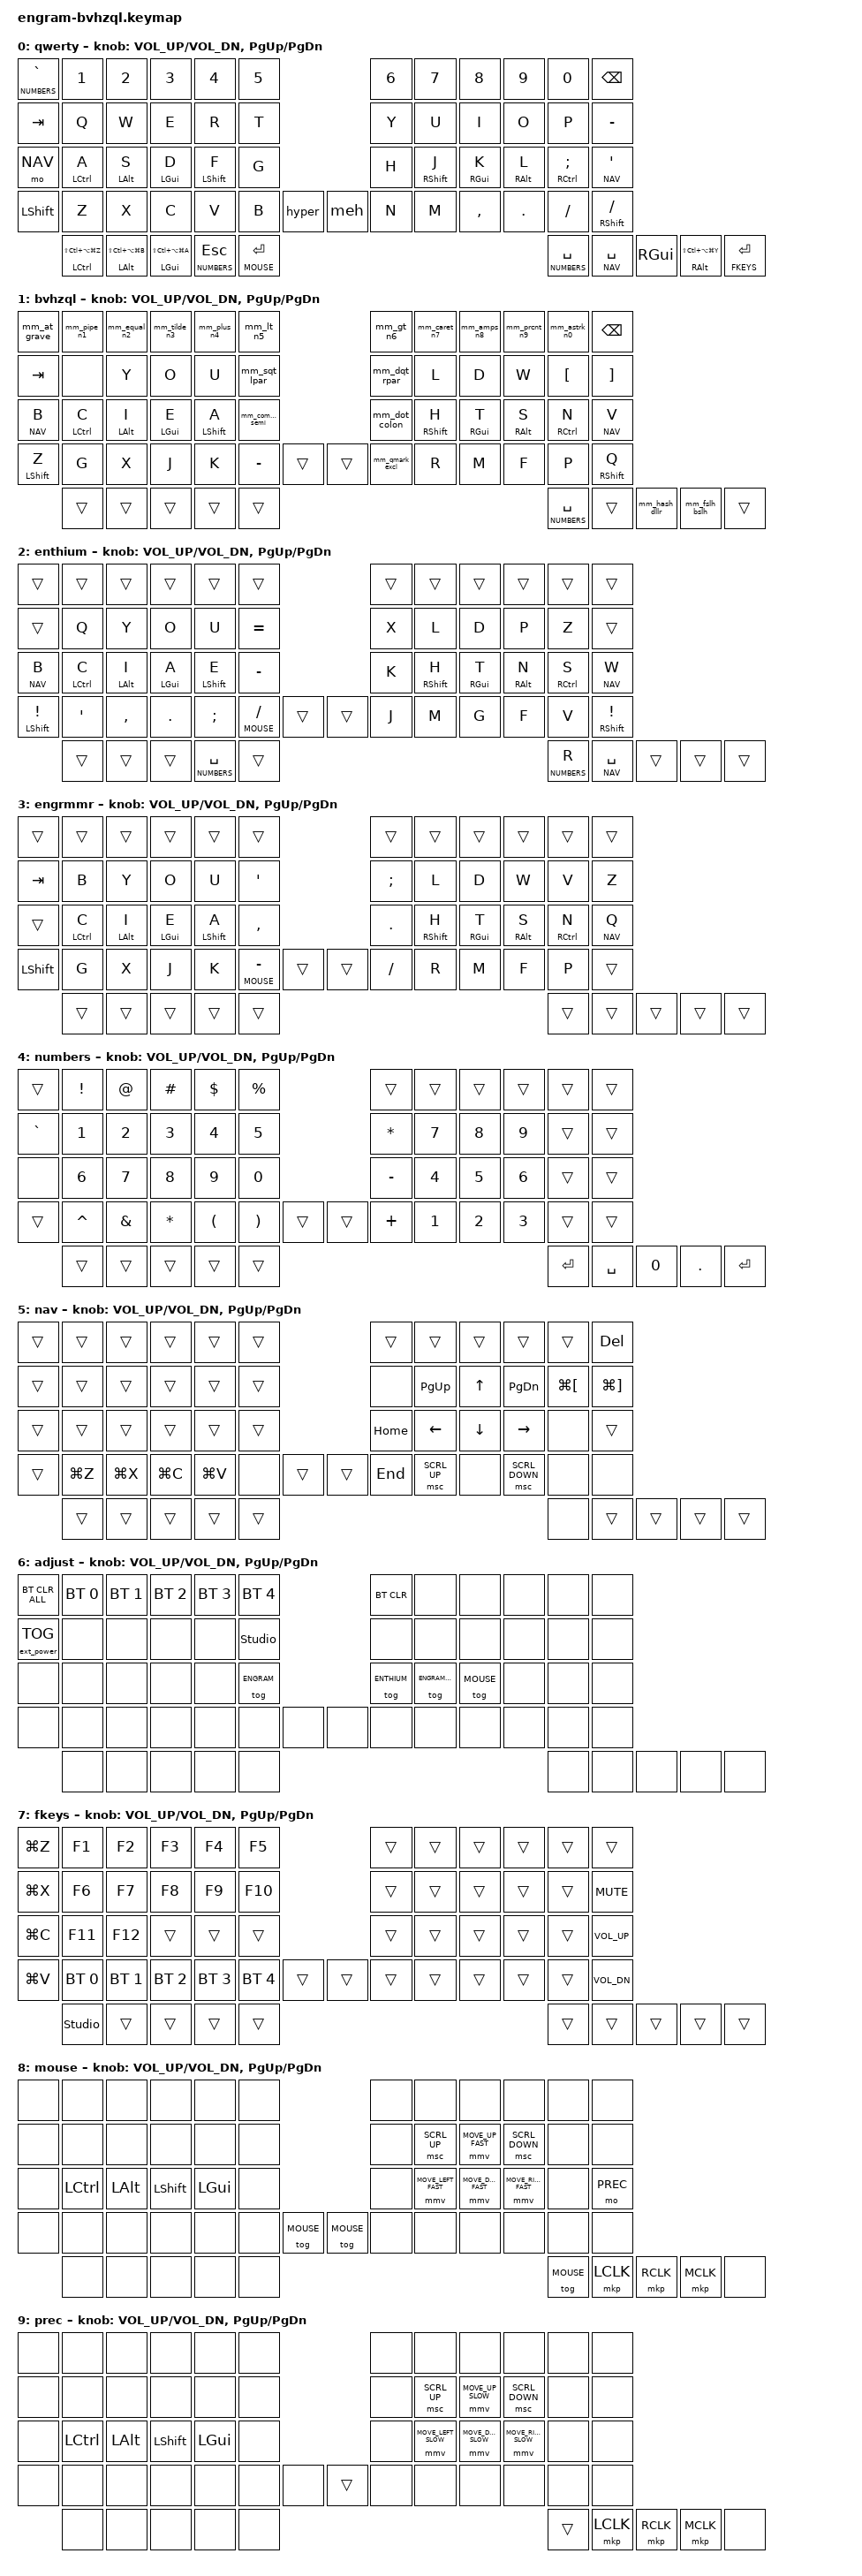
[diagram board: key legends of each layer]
/*
 * Profile: engram-bvhzql
 * Description: Quad-layout with Engram BVh ZQl on layer 1 (retired — replaced by Enth+)
 * Created: 2026-03-31
 * Based on: upstream quad-layout with Engrammer
 */

/*
 * Quad-Layout — SOFLE 60-key
 *
 * Four alpha layouts with shared functional layers.
 *
 * Layers:
 *   0 = QWERTY base with CAGS HRM
 *   1 = Engram BVh ZQl toggle overlay (custom shifted pairs via mod-morphs)
 *   2 = Enthium v14 toggle overlay (original orientation)
 *   3 = Engrammer toggle overlay (standard shifted pairs, no mod-morphs)
 *   4 = Numbers (number grid + numpad, merged)
 *   5 = Nav (arrows, undo/cut/copy/paste)
 *   6 = Adjust (conditional: NAV + NUMBERS — BT, power, toggles)
 *   7 = Fkeys (F1-F12, media, undo/cut/copy/paste, BT, Studio unlock)
 *   8 = Mouse (mouse movement on right OHAE cluster)
 *   9 = Prec (precision mouse — 1/3 speed)
 *
 * Cycle: QWERTY → Engram → Enthium → Engrammer → QWERTY (combo: pos 46+47+48+49)
 */

#include <behaviors.dtsi>
#include <dt-bindings/zmk/bt.h>
#include <dt-bindings/zmk/ext_power.h>
#include <dt-bindings/zmk/keys.h>
#define ZMK_POINTING_DEFAULT_SCRL_VAL 25
#include <dt-bindings/zmk/pointing.h>

#define QWERTY    0
#define ENGRAM    1
#define ENTHIUM   2
#define ENGRAMMER 3
#define NUMBERS   4
#define NAV       5
#define ADJUST    6
#define FKEYS     7
#define MOUSE     8
#define PREC      9

// Mouse movement (195% of ZMK default 600 = 1170)
#ifndef KEYMAP_DRAWER
#define MOVE_UP_FAST    ((-1170) & 0xFFFF)
#define MOVE_DOWN_FAST  ((1170) & 0xFFFF)
#define MOVE_LEFT_FAST  (((-1170) & 0xFFFF) << 16)
#define MOVE_RIGHT_FAST (((1170) & 0xFFFF) << 16)

// Precision mouse movement (1/3 of fast speed)
#define MOVE_UP_SLOW    ((-390) & 0xFFFF)
#define MOVE_DOWN_SLOW  ((390) & 0xFFFF)
#define MOVE_LEFT_SLOW  (((-390) & 0xFFFF) << 16)
#define MOVE_RIGHT_SLOW (((390) & 0xFFFF) << 16)
#endif

/ {
    // Activate ADJUST layer by pressing NAV and NUMBERS together
    conditional_layers {
        compatible = "zmk,conditional-layers";

        adjust_layer {
            if-layers = <NAV NUMBERS>;
            then-layer = <ADJUST>;
        };
    };

    combos {
        compatible = "zmk,combos";

        // ── Escape combos ─────────────────────────────────────────
        esc {
            bindings = <&kp ESCAPE>;
            key-positions = <25 41>;
        };

        esc2 {
            bindings = <&kp ESCAPE>;
            key-positions = <0 12>;
        };

        esc3 {
            bindings = <&kp ESCAPE>;
            key-positions = <0 1>;
        };

        // ── Thumb fat-finger protection ───────────────────────────
        thumb_fatfinger {
            bindings = <&kp SPACE>;
            key-positions = <54 55>;
        };

        thumb_fatfinger_left {
            bindings = <&kp SPACE>;
            key-positions = <52 53>;
        };

        thumb_fatfinger_right {
            bindings = <&kp SPACE>;
            key-positions = <56 57>;
        };

        // ── Layout cycle: QWERTY → Engram → Enthium → QWERTY ─────
        layout_to_engram {
            bindings = <&tog ENGRAM>;
            key-positions = <46 47 48 49>;
            layers = <QWERTY>;
        };

        layout_to_enthium {
            bindings = <&engram_to_enthium>;
            key-positions = <46 47 48 49>;
            layers = <ENGRAM>;
        };

        layout_to_engrammer {
            bindings = <&enthium_to_engrammer>;
            key-positions = <46 47 48 49>;
            layers = <ENTHIUM>;
        };

        layout_to_qwerty {
            bindings = <&tog ENGRAMMER>;
            key-positions = <46 47 48 49>;
            layers = <ENGRAMMER>;
        };

        // ── Numbers toggle: G+H positions ─────────────────────────
        numbers_toggle {
            bindings = <&tog NUMBERS>;
            key-positions = <29 30>;
        };

        // ── Fat-finger protection: QWERTY ────────────────────────
        fatfinger_del_q {
            bindings = <&kp B>;
            key-positions = <41 42>;
            layers = <QWERTY>;
        };

        fatfinger_bksp_q {
            bindings = <&kp N>;
            key-positions = <44 43>;
            layers = <QWERTY>;
        };

        // ── Fat-finger protection: Engram ────────────────────────
        fatfinger_del_eng {
            bindings = <&kp K>;
            key-positions = <41 42>;
            layers = <ENGRAM>;
        };

        fatfinger_bksp_eng {
            bindings = <&kp R>;
            key-positions = <44 43>;
            layers = <ENGRAM>;
        };

        // ── Fat-finger protection: Enthium ───────────────────────
        // ── Fat-finger protection: Engrammer ─────────────────────
        fatfinger_del_engr {
            bindings = <&kp FSLH>;
            key-positions = <41 42>;
            layers = <ENGRAMMER>;
        };

        fatfinger_bksp_engr {
            bindings = <&kp R>;
            key-positions = <44 43>;
            layers = <ENGRAMMER>;
        };

        fatfinger_del_e {
            bindings = <&kp FSLH>;
            key-positions = <41 42>;
            layers = <ENTHIUM>;
        };

        fatfinger_bksp_e {
            bindings = <&kp J>;
            key-positions = <44 43>;
            layers = <ENTHIUM>;
        };
    };

    macros {
        hyper: hyper {
            compatible = "zmk,behavior-macro";
            #binding-cells = <0>;
            bindings
                = <&macro_press &kp LSHFT &kp LCTRL &kp LALT &kp LGUI>
                , <&macro_pause_for_release>
                , <&macro_release &kp LSHFT &kp LCTRL &kp LALT &kp LGUI>
                ;
        };

        hyper_space: hyper_space {
            compatible = "zmk,behavior-macro";
            #binding-cells = <0>;
            bindings
                = <&macro_press &kp LSHFT &kp LCTRL &kp LALT &kp LGUI>
                , <&macro_tap &kp SPACE>
                , <&macro_release &kp LSHFT &kp LCTRL &kp LALT &kp LGUI>
                ;
        };

        hyper_f: hyper_f {
            compatible = "zmk,behavior-macro";
            #binding-cells = <0>;
            bindings
                = <&macro_press &kp LSHFT &kp LCTRL &kp LALT &kp LGUI>
                , <&macro_tap &kp F>
                , <&macro_release &kp LSHFT &kp LCTRL &kp LALT &kp LGUI>
                ;
        };

        meh_f: meh_f {
            compatible = "zmk,behavior-macro";
            #binding-cells = <0>;
            bindings
                = <&macro_press &kp RSHFT &kp RCTRL &kp RALT>
                , <&macro_tap &kp F>
                , <&macro_release &kp RSHFT &kp RCTRL &kp RALT>
                ;
        };

        meh: meh {
            compatible = "zmk,behavior-macro";
            #binding-cells = <0>;
            bindings
                = <&macro_press &kp LSHFT &kp LCTRL &kp LALT>
                , <&macro_pause_for_release>
                , <&macro_release &kp LSHFT &kp LCTRL &kp LALT>
                ;
        };

        engram_to_enthium: engram_to_enthium {
            compatible = "zmk,behavior-macro";
            #binding-cells = <0>;
            wait-ms = <0>;
            tap-ms = <0>;
            bindings = <&tog ENGRAM &tog ENTHIUM>;
        };

        enthium_to_engrammer: enthium_to_engrammer {
            compatible = "zmk,behavior-macro";
            #binding-cells = <0>;
            wait-ms = <0>;
            tap-ms = <0>;
            bindings = <&tog ENTHIUM &tog ENGRAMMER>;
        };
    };

    behaviors {

        hml: home_row_mod_left {
            compatible = "zmk,behavior-hold-tap";
            #binding-cells = <2>;
            flavor = "balanced";
            tapping-term-ms = <280>;
            quick-tap-ms = <175>;
            require-prior-idle-ms = <150>;
            bindings = <&kp>, <&kp>;
            hold-trigger-key-positions = <6 7 8 9 10 11 18 19 20 21 22 23 30 31 32 33 34 35 43 44 45 46 47 48 49 50 51 52 53 54 55 56 57 58 59>;
            hold-trigger-on-release;
        };

        hmr: home_row_mod_right {
            compatible = "zmk,behavior-hold-tap";
            #binding-cells = <2>;
            flavor = "balanced";
            tapping-term-ms = <280>;
            quick-tap-ms = <175>;
            require-prior-idle-ms = <150>;
            bindings = <&kp>, <&kp>;
            hold-trigger-key-positions = <0 1 2 3 4 5 12 13 14 15 16 17 24 25 26 27 28 29 36 37 38 39 40 41 42 50 51 52 53 54 55 56 57 58 59>;
            hold-trigger-on-release;
        };

        hml_g: home_row_mod_left_gui {
            compatible = "zmk,behavior-hold-tap";
            #binding-cells = <2>;
            flavor = "balanced";
            tapping-term-ms = <280>;
            quick-tap-ms = <175>;
            require-prior-idle-ms = <350>;
            bindings = <&kp>, <&kp>;
            hold-trigger-key-positions = <6 7 8 9 10 11 18 19 20 21 22 23 30 31 32 33 34 35 43 44 45 46 47 48 49 50 51 52 53 54 55 56 57 58 59>;
            hold-trigger-on-release;
        };

        hmr_g: home_row_mod_right_gui {
            compatible = "zmk,behavior-hold-tap";
            #binding-cells = <2>;
            flavor = "balanced";
            tapping-term-ms = <280>;
            quick-tap-ms = <175>;
            require-prior-idle-ms = <350>;
            bindings = <&kp>, <&kp>;
            hold-trigger-key-positions = <0 1 2 3 4 5 12 13 14 15 16 17 24 25 26 27 28 29 36 37 38 39 40 41 42 50 51 52 53 54 55 56 57 58 59>;
            hold-trigger-on-release;
        };

        lts: layer_tap_smart {
            compatible = "zmk,behavior-hold-tap";
            #binding-cells = <2>;
            flavor = "balanced";
            tapping-term-ms = <280>;
            quick-tap-ms = <175>;
            require-prior-idle-ms = <150>;
            bindings = <&mo>, <&kp>;
        };


        htk: hold_tap_kp {
            compatible = "zmk,behavior-hold-tap";
            #binding-cells = <2>;
            flavor = "balanced";
            tapping-term-ms = <200>;
            quick-tap-ms = <175>;
            bindings = <&kp>, <&kp>;
        };

        // ── Engram mod-morphs: custom shifted pairs ──────────────
        // base tap = symbol, shift = different character

        mm_comma_semi: mm_comma_semi {
            compatible = "zmk,behavior-mod-morph";
            #binding-cells = <0>;
            bindings = <&kp COMMA>, <&kp SEMI>;
            mods = <(MOD_LSFT|MOD_RSFT)>;
        };

        mm_dot_colon: mm_dot_colon {
            compatible = "zmk,behavior-mod-morph";
            #binding-cells = <0>;
            bindings = <&kp DOT>, <&kp COLON>;
            mods = <(MOD_LSFT|MOD_RSFT)>;
        };

        mm_sqt_lpar: mm_sqt_lpar {
            compatible = "zmk,behavior-mod-morph";
            #binding-cells = <0>;
            bindings = <&kp SQT>, <&kp LPAR>;
            mods = <(MOD_LSFT|MOD_RSFT)>;
        };

        mm_dqt_rpar: mm_dqt_rpar {
            compatible = "zmk,behavior-mod-morph";
            #binding-cells = <0>;
            bindings = <&kp DQT>, <&kp RPAR>;
            mods = <(MOD_LSFT|MOD_RSFT)>;
        };

        mm_qmark_excl: mm_qmark_excl {
            compatible = "zmk,behavior-mod-morph";
            #binding-cells = <0>;
            bindings = <&kp QMARK>, <&kp EXCL>;
            mods = <(MOD_LSFT|MOD_RSFT)>;
        };

        mm_at_grave: mm_at_grave {
            compatible = "zmk,behavior-mod-morph";
            #binding-cells = <0>;
            bindings = <&kp AT>, <&kp GRAVE>;
            mods = <(MOD_LSFT|MOD_RSFT)>;
        };

        mm_hash_dllr: mm_hash_dllr {
            compatible = "zmk,behavior-mod-morph";
            #binding-cells = <0>;
            bindings = <&kp HASH>, <&kp DLLR>;
            mods = <(MOD_LSFT|MOD_RSFT)>;
        };

        mm_fslh_bslh: mm_fslh_bslh {
            compatible = "zmk,behavior-mod-morph";
            #binding-cells = <0>;
            bindings = <&kp FSLH>, <&kp BSLH>;
            mods = <(MOD_LSFT|MOD_RSFT)>;
        };

        // ── Engram number row mod-morphs: symbol base, number on shift ──
        mm_pipe_n1: mm_pipe_n1 {
            compatible = "zmk,behavior-mod-morph";
            #binding-cells = <0>;
            bindings = <&kp PIPE>, <&kp N1>;
            mods = <(MOD_LSFT|MOD_RSFT)>;
        };

        mm_equal_n2: mm_equal_n2 {
            compatible = "zmk,behavior-mod-morph";
            #binding-cells = <0>;
            bindings = <&kp EQUAL>, <&kp N2>;
            mods = <(MOD_LSFT|MOD_RSFT)>;
        };

        mm_tilde_n3: mm_tilde_n3 {
            compatible = "zmk,behavior-mod-morph";
            #binding-cells = <0>;
            bindings = <&kp TILDE>, <&kp N3>;
            mods = <(MOD_LSFT|MOD_RSFT)>;
        };

        mm_plus_n4: mm_plus_n4 {
            compatible = "zmk,behavior-mod-morph";
            #binding-cells = <0>;
            bindings = <&kp PLUS>, <&kp N4>;
            mods = <(MOD_LSFT|MOD_RSFT)>;
        };

        mm_lt_n5: mm_lt_n5 {
            compatible = "zmk,behavior-mod-morph";
            #binding-cells = <0>;
            bindings = <&kp LT>, <&kp N5>;
            mods = <(MOD_LSFT|MOD_RSFT)>;
        };

        mm_gt_n6: mm_gt_n6 {
            compatible = "zmk,behavior-mod-morph";
            #binding-cells = <0>;
            bindings = <&kp GT>, <&kp N6>;
            mods = <(MOD_LSFT|MOD_RSFT)>;
        };

        mm_caret_n7: mm_caret_n7 {
            compatible = "zmk,behavior-mod-morph";
            #binding-cells = <0>;
            bindings = <&kp CARET>, <&kp N7>;
            mods = <(MOD_LSFT|MOD_RSFT)>;
        };

        mm_amps_n8: mm_amps_n8 {
            compatible = "zmk,behavior-mod-morph";
            #binding-cells = <0>;
            bindings = <&kp AMPS>, <&kp N8>;
            mods = <(MOD_LSFT|MOD_RSFT)>;
        };

        mm_prcnt_n9: mm_prcnt_n9 {
            compatible = "zmk,behavior-mod-morph";
            #binding-cells = <0>;
            bindings = <&kp PRCNT>, <&kp N9>;
            mods = <(MOD_LSFT|MOD_RSFT)>;
        };

        mm_astrk_n0: mm_astrk_n0 {
            compatible = "zmk,behavior-mod-morph";
            #binding-cells = <0>;
            bindings = <&kp ASTRK>, <&kp N0>;
            mods = <(MOD_LSFT|MOD_RSFT)>;
        };

        td_enc_l: tap_dance_enc_left {
            compatible = "zmk,behavior-tap-dance";
            #binding-cells = <0>;
            tapping-term-ms = <200>;
            bindings = <&none>, <&hyper_f>;
        };

        td_enc_r: tap_dance_enc_right {
            compatible = "zmk,behavior-tap-dance";
            #binding-cells = <0>;
            tapping-term-ms = <200>;
            bindings = <&none>, <&meh_f>;
        };

    };

    keymap {
        compatible = "zmk,keymap";

        // ── Layer 0 — QWERTY ──────────────────────────────────────

        qwerty_layer {
            display-name = "qwerty";

            bindings = <
&lts NUMBERS GRAVE  &kp N1      &kp N2          &kp N3          &kp N4          &kp N5                                          &kp N6              &kp N7          &kp N8          &kp N9          &kp N0              &kp BSPC
&kp TAB        &kp Q           &kp W           &kp E           &kp R           &kp T                                           &kp Y               &kp U           &kp I           &kp O           &kp P               &kp MINUS
&mo NAV        &hml LCTRL A    &hml LALT S     &hml_g LGUI D   &hml LSHFT F    &kp G                                           &kp H               &hmr RSHFT J    &hmr_g RGUI K   &hmr RALT L     &hmr RCTRL SEMI     &lts NAV SQT
&kp LSHFT      &kp Z           &kp X           &kp C           &kp V           &kp B           &hyper          &meh            &kp N               &kp M           &kp COMMA       &kp DOT         &kp FSLH            &mt RSHFT FSLH
               &htk LCTRL LS(LC(LA(LG(Z))))  &htk LALT LS(LC(LA(LG(B))))  &htk LGUI LS(LC(LA(LG(A))))  &lts NUMBERS ESC    &lts MOUSE ENTER                         &lts NUMBERS SPACE  &lts NAV SPACE      &kp RGUI                      &htk RALT LS(LC(LA(LG(Y))))     &lts FKEYS ENTER
            >;

            sensor-bindings = <&inc_dec_kp C_VOL_UP C_VOL_DN &inc_dec_kp PG_UP PG_DN>;
        };

        // ── Layer 1 — Engram BVh ZQl ─────────────────────────────

        engram_layer {
            display-name = "bvhzql";

            bindings = <
&mm_at_grave     &mm_pipe_n1 &mm_equal_n2    &mm_tilde_n3    &mm_plus_n4     &mm_lt_n5                                       &mm_gt_n6           &mm_caret_n7    &mm_amps_n8     &mm_prcnt_n9    &mm_astrk_n0        &kp BSPC
&kp TAB        &none           &kp Y           &kp O           &kp U           &mm_sqt_lpar                                    &mm_dqt_rpar        &kp L           &kp D           &kp W           &kp LBKT            &kp RBKT
&lts NAV B     &hml LCTRL C    &hml LALT I     &hml_g LGUI E   &hml LSHFT A    &mm_comma_semi                                  &mm_dot_colon       &hmr RSHFT H    &hmr_g RGUI T   &hmr RALT S     &hmr RCTRL N        &lts NAV V
&mt LSHFT Z    &kp G           &kp X           &kp J           &kp K           &kp MINUS       &trans          &trans          &mm_qmark_excl      &kp R           &kp M           &kp F           &kp P               &mt RSHFT Q
               &trans          &trans          &trans          &trans          &trans                                          &lts NUMBERS SPACE  &trans          &mm_hash_dllr   &mm_fslh_bslh   &trans
            >;

            sensor-bindings = <&inc_dec_kp C_VOL_UP C_VOL_DN &inc_dec_kp PG_UP PG_DN>;
        };

        // ── Layer 2 — Enthium v14 (original orientation) ─────────

        enthium_layer {
            display-name = "enthium";

            bindings = <
&trans         &trans          &trans          &trans          &trans          &trans                                          &trans              &trans          &trans          &trans          &trans              &trans
&trans         &kp Q           &kp Y           &kp O           &kp U           &kp EQUAL                                       &kp X               &kp L           &kp D           &kp P           &kp Z               &trans
&lts NAV B     &hml LCTRL C    &hml LALT I     &hml_g LGUI A   &hml LSHFT E    &kp MINUS                                       &kp K               &hmr RSHFT H    &hmr_g RGUI T   &hmr RALT N     &hmr RCTRL S        &lts NAV W
&mt LSHFT EXCL &kp SQT         &kp COMMA       &kp DOT         &kp SEMI        &lts MOUSE FSLH &trans          &trans          &kp J               &kp M           &kp G           &kp F           &kp V               &mt RSHFT EXCL
               &trans          &trans          &trans          &lts NUMBERS SPACE  &trans                                      &lts NUMBERS R      &lts NAV SPACE  &trans          &trans          &trans
            >;

            sensor-bindings = <&inc_dec_kp C_VOL_UP C_VOL_DN &inc_dec_kp PG_UP PG_DN>;
        };

        // ── Layer 3 — Engrammer (standard shifted pairs) ──────────

        engrammer_layer {
            display-name = "engrmmr";

            bindings = <
&trans         &trans          &trans          &trans          &trans          &trans                                          &trans              &trans          &trans          &trans          &trans              &trans
&kp TAB        &kp B           &kp Y           &kp O           &kp U           &kp SQT                                         &kp SEMI            &kp L           &kp D           &kp W           &kp V               &kp Z
&trans         &hml LCTRL C    &hml LALT I     &hml_g LGUI E   &hml LSHFT A    &kp COMMA                                       &kp DOT             &hmr RSHFT H    &hmr_g RGUI T   &hmr RALT S     &hmr RCTRL N        &lts NAV Q
&kp LSHFT      &kp G           &kp X           &kp J           &kp K           &lts MOUSE MINUS &trans         &trans          &kp FSLH            &kp R           &kp M           &kp F           &kp P               &trans
               &trans          &trans          &trans          &trans          &trans                                          &trans              &trans          &trans          &trans          &trans
            >;

            sensor-bindings = <&inc_dec_kp C_VOL_UP C_VOL_DN &inc_dec_kp PG_UP PG_DN>;
        };

        // ── Layer 4 — Numbers (merged with numpad) ───────────────

        numbers_layer {
            display-name = "numbers";

            bindings = <
&trans         &kp EXCL        &kp AT          &kp HASH        &kp DLLR        &kp PRCNT                                       &trans              &trans          &trans          &trans          &trans              &trans
&kp GRAVE      &kp N1          &kp N2          &kp N3          &kp N4          &kp N5                                          &kp ASTRK           &kp N7          &kp N8          &kp N9          &trans              &trans
&none          &kp N6          &kp N7          &kp N8          &kp N9          &kp N0                                          &kp MINUS           &kp N4          &kp N5          &kp N6          &trans              &trans
&trans         &kp CARET       &kp AMPS        &kp ASTRK       &kp LPAR        &kp RPAR        &trans          &trans          &kp PLUS            &kp N1          &kp N2          &kp N3          &trans              &trans
               &trans          &trans          &trans          &trans          &trans                                          &kp ENTER           &kp SPACE       &kp N0          &kp DOT         &kp ENTER
            >;

            sensor-bindings = <&inc_dec_kp C_VOL_UP C_VOL_DN &inc_dec_kp PG_UP PG_DN>;
        };

        // ── Layer 5 — Navigation ─────────────────────────────────

        nav_layer {
            display-name = "nav";

            bindings = <
&trans         &trans              &trans              &trans              &trans              &trans                                          &trans          &trans          &trans          &trans          &trans          &kp DELETE
&trans         &trans              &trans              &trans              &trans              &trans                                          &none           &kp PG_UP       &kp UP          &kp PG_DN       &kp LG(LBKT)    &kp LG(RBKT)
&trans         &trans              &trans              &trans              &trans              &trans                                          &kp HOME        &kp LEFT        &kp DOWN        &kp RIGHT       &none           &trans
&trans         &kp LG(Z)          &kp LG(X)          &kp LG(C)          &kp LG(V)          &none           &trans          &trans          &kp END         &msc SCRL_UP    &none           &msc SCRL_DOWN  &none           &none
               &trans              &trans              &trans              &trans              &trans                                          &none           &trans          &trans          &trans          &trans
            >;

            sensor-bindings = <&inc_dec_kp C_VOL_UP C_VOL_DN &inc_dec_kp PG_UP PG_DN>;
        };

        // ── Layer 6 — Adjust (conditional: NAV + NUMBERS) ───────

        adjust_layer {
            display-name = "adjust";

            bindings = <
&bt BT_CLR_ALL &bt BT_SEL 0    &bt BT_SEL 1    &bt BT_SEL 2    &bt BT_SEL 3    &bt BT_SEL 4                                    &bt BT_CLR          &none           &none           &none           &none               &none
&ext_power EP_TOG &none        &none           &none           &none           &studio_unlock                                  &none               &none           &none           &none           &none               &none
&none          &none           &none           &none           &none           &tog ENGRAM                                     &tog ENTHIUM        &tog ENGRAMMER  &tog MOUSE      &none           &none               &none
&none          &none           &none           &none           &none           &none           &none           &none           &none               &none           &none           &none           &none               &none
               &none           &none           &none           &none           &none                                           &none               &none           &none           &none           &none
            >;

            sensor-bindings = <&inc_dec_kp C_VOL_UP C_VOL_DN &inc_dec_kp PG_UP PG_DN>;
        };

        // ── Layer 7 — F-keys + utilities ─────────────────────────

        fkeys_layer {
            display-name = "fkeys";

            bindings = <
&kp LG(Z)      &kp F1          &kp F2          &kp F3          &kp F4          &kp F5                                          &trans              &trans          &trans          &trans          &trans              &trans
&kp LG(X)      &kp F6          &kp F7          &kp F8          &kp F9          &kp F10                                         &trans              &trans          &trans          &trans          &trans              &kp C_MUTE
&kp LG(C)      &kp F11         &kp F12         &trans          &trans          &trans                                          &trans              &trans          &trans          &trans          &trans              &kp C_VOL_UP
&kp LG(V)      &bt BT_SEL 0    &bt BT_SEL 1    &bt BT_SEL 2    &bt BT_SEL 3    &bt BT_SEL 4    &trans          &trans          &trans              &trans          &trans          &trans          &trans              &kp C_VOL_DN
               &studio_unlock  &trans          &trans          &trans          &trans                                          &trans              &trans          &trans          &trans          &trans
            >;

            sensor-bindings = <&inc_dec_kp C_VOL_UP C_VOL_DN &inc_dec_kp PG_UP PG_DN>;
        };

        // ── Layer 8 — Mouse ──────────────────────────────────────

        mouse_layer {
            display-name = "mouse";

            bindings = <
&none          &none           &none           &none           &none           &none                                           &none               &none               &none                &none                &none          &none
&none          &none           &none           &none           &none           &none                                           &none               &msc SCRL_UP        &mmv MOVE_UP_FAST    &msc SCRL_DOWN       &none          &none
&none          &kp LCTRL       &kp LALT        &kp LSHFT       &kp LGUI        &none                                           &none               &mmv MOVE_LEFT_FAST &mmv MOVE_DOWN_FAST  &mmv MOVE_RIGHT_FAST &none          &mo PREC
&none          &none           &none           &none           &none           &none           &tog MOUSE      &tog MOUSE      &none               &none               &none                &none                &none          &none
               &none           &none           &none           &none           &none                                           &tog MOUSE          &mkp LCLK           &mkp RCLK            &mkp MCLK            &none
            >;

            sensor-bindings = <&inc_dec_kp C_VOL_UP C_VOL_DN &inc_dec_kp PG_UP PG_DN>;
        };

        // ── Layer 9 — Precision mouse ────────────────────────────

        prec_layer {
            display-name = "prec";

            bindings = <
&none          &none           &none           &none           &none           &none                                           &none               &none                &none                &none                &none          &none
&none          &none           &none           &none           &none           &none                                           &none               &msc SCRL_UP         &mmv MOVE_UP_SLOW    &msc SCRL_DOWN       &none          &none
&none          &kp LCTRL       &kp LALT        &kp LSHFT       &kp LGUI        &none                                           &none               &mmv MOVE_LEFT_SLOW  &mmv MOVE_DOWN_SLOW  &mmv MOVE_RIGHT_SLOW &none          &none
&none          &none           &none           &none           &none           &none           &none           &trans          &none               &none                &none                &none                &none          &none
               &none           &none           &none           &none           &none                                           &trans              &mkp LCLK            &mkp RCLK            &mkp MCLK            &none
            >;

            sensor-bindings = <&inc_dec_kp C_VOL_UP C_VOL_DN &inc_dec_kp PG_UP PG_DN>;
        };
    };
};
